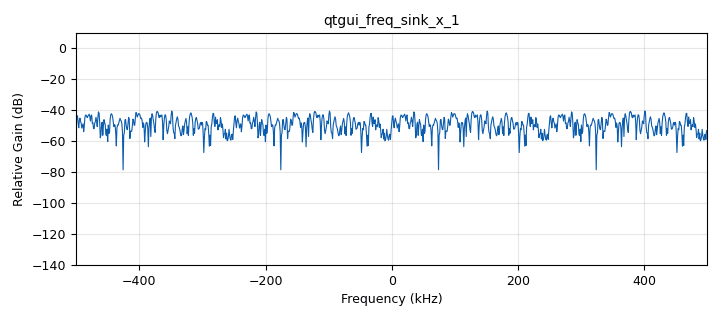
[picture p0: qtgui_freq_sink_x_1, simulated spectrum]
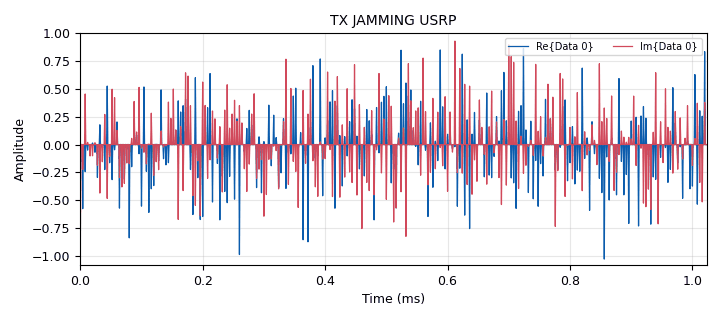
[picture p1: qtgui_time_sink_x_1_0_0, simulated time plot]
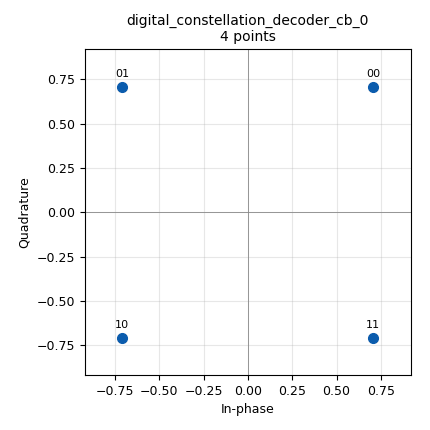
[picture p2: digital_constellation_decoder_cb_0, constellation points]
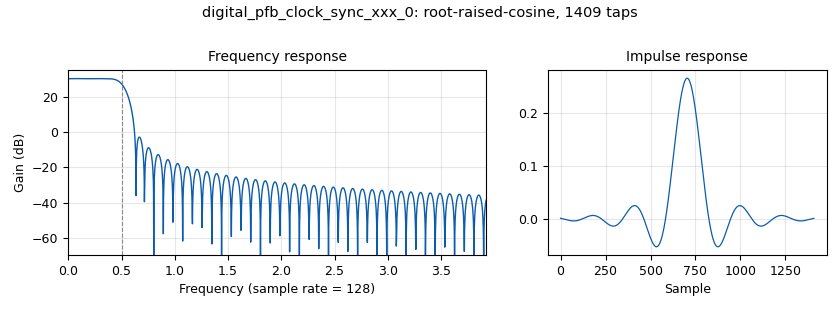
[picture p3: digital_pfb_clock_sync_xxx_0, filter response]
<?xml version='1.0' encoding='utf-8'?>
<?grc format='1' created='3.7.13'?>
<flow_graph>
<block>
<key>options</key>
<param><key>id</key><value>rx</value></param>
<param><key>author</key><value>andresilva</value></param>
<param><key>generate_options</key><value>qt_gui</value></param>
</block>
<block>
<key>variable_ldpc_H_matrix_def</key>
<param><key>id</key><value>H_dec</value></param>
<param><key>filename</key><value>/usr/local/share/gnuradio/fec/ldpc/n_1100_k_0442_gap_24.alist</value></param>
<param><key>gap</key><value>24</value></param>
</block>
<block>
<key>variable</key>
<param><key>id</key><value>MCR</value></param>
<param><key>value</key><value>"master_clock_rate=60e6"</value></param>
</block>
<block>
<key>variable</key>
<param><key>id</key><value>MCR</value></param>
<param><key>_enabled</key><value>0</value></param>
<param><key>value</key><value>"master_clock_rate=18e6"</value></param>
</block>
<block>
<key>variable</key>
<param><key>id</key><value>eb</value></param>
<param><key>value</key><value>0.22</value></param>
</block>
<block>
<key>variable</key>
<param><key>id</key><value>frequencia_usrp</value></param>
<param><key>value</key><value>484e6</value></param>
</block>
<block>
<key>variable</key>
<param><key>id</key><value>nfilts</value></param>
<param><key>value</key><value>32</value></param>
</block>
<block>
<key>variable_constellation</key>
<param><key>id</key><value>pld_const</value></param>
<param><key>const_points</key><value>0.92387+0.38268j, 0.38268+0.92387j,  -0.38268+0.92387j, -0.92387+0.38268j, -0.92387-0.38268j, -0.38268-0.92387j, 0.38268-0.92387j, 0.92387-0.38268j</value></param>
<param><key>type</key><value>calcdist</value></param>
<param><key>dims</key><value>1</value></param>
<param><key>_enabled</key><value>0</value></param>
<param><key>rot_sym</key><value>4</value></param>
<param><key>soft_dec_lut</key><value>'auto'</value></param>
<param><key>precision</key><value>8</value></param>
<param><key>sym_map</key><value>[0, 1, 2, 3, 4, 5, 6, 7]</value></param>
</block>
<block>
<key>variable_constellation_rect</key>
<param><key>id</key><value>pld_const</value></param>
<param><key>const_points</key><value>[0.707+0.707j, -0.707+0.707j, -0.707-0.707j, 0.707-0.707j]</value></param>
<param><key>imag_sect</key><value>2</value></param>
<param><key>real_sect</key><value>2</value></param>
<param><key>rot_sym</key><value>4</value></param>
<param><key>soft_dec_lut</key><value>'auto'</value></param>
<param><key>sym_map</key><value>[0, 1, 2, 3]</value></param>
<param><key>w_imag_sect</key><value>1</value></param>
<param><key>w_real_sect</key><value>1</value></param>
</block>
<block>
<key>variable_ldpc_bit_flip_decoder_def</key>
<param><key>id</key><value>pld_dec</value></param>
<param><key>dim1</key><value>8</value></param>
<param><key>matrix_object</key><value>H_dec</value></param>
<param><key>max_iterations</key><value>50</value></param>
<param><key>ndim</key><value>1</value></param>
</block>
<block>
<key>variable_rrc_filter_taps</key>
<param><key>id</key><value>rx_rrc_taps</value></param>
<param><key>alpha</key><value>eb</value></param>
<param><key>gain</key><value>nfilts</value></param>
<param><key>ntaps</key><value>11*sps*nfilts</value></param>
<param><key>samp_rate</key><value>nfilts*sps</value></param>
<param><key>sym_rate</key><value>1.0</value></param>
</block>
<block>
<key>variable</key>
<param><key>id</key><value>samp_rate</value></param>
<param><key>value</key><value>samp_rate_array_MCR[7]</value></param>
</block>
<block>
<key>variable</key>
<param><key>id</key><value>samp_rate</value></param>
<param><key>_enabled</key><value>0</value></param>
<param><key>value</key><value>samp_rate_array_MCR[0]</value></param>
</block>
<block>
<key>variable</key>
<param><key>id</key><value>samp_rate_array_MCR</value></param>
<param><key>value</key><value>[7500000,5000000,3750000,3000000,2500000,2000000,1500000,1000000,937500,882352,833333,714285,533333,500000,421052,400000,380952]</value></param>
</block>
<block>
<key>variable</key>
<param><key>id</key><value>samp_rate_array_MCR</value></param>
<param><key>_enabled</key><value>0</value></param>
<param><key>value</key><value>[4500000]</value></param>
</block>
<block>
<key>variable</key>
<param><key>id</key><value>sps</value></param>
<param><key>value</key><value>4</value></param>
</block>
<block>
<key>variable_qtgui_check_box</key>
<param><key>id</key><value>variable_qtgui_check_box_0</value></param>
<param><key>value</key><value>True</value></param>
<param><key>false</key><value>False</value></param>
<param><key>gui_hint</key><value>0,1</value></param>
<param><key>label</key><value>ENABLE JAM</value></param>
<param><key>true</key><value>True</value></param>
<param><key>type</key><value>int</value></param>
</block>
<block>
<key>variable_qtgui_range</key>
<param><key>id</key><value>variable_qtgui_range_0_0</value></param>
<param><key>value</key><value>53</value></param>
<param><key>gui_hint</key><value>0,3</value></param>
<param><key>label</key><value>Gain_Jamming</value></param>
<param><key>orient</key><value>Qt.Horizontal</value></param>
<param><key>start</key><value>0</value></param>
<param><key>step</key><value>1</value></param>
<param><key>stop</key><value>90</value></param>
</block>
<block>
<key>variable_qtgui_range</key>
<param><key>id</key><value>variable_qtgui_range_0_0_0</value></param>
<param><key>value</key><value>0</value></param>
<param><key>gui_hint</key><value>3,1</value></param>
<param><key>label</key><value>Delay</value></param>
<param><key>orient</key><value>Qt.Horizontal</value></param>
<param><key>start</key><value>0</value></param>
<param><key>step</key><value>1</value></param>
<param><key>stop</key><value>5000</value></param>
<param><key>rangeType</key><value>int</value></param>
</block>
<block>
<key>variable_qtgui_range</key>
<param><key>id</key><value>variable_qtgui_range_0_0_0_0</value></param>
<param><key>value</key><value>0</value></param>
<param><key>gui_hint</key><value>3,3</value></param>
<param><key>label</key><value>Delay2</value></param>
<param><key>orient</key><value>Qt.Horizontal</value></param>
<param><key>start</key><value>0</value></param>
<param><key>step</key><value>1</value></param>
<param><key>stop</key><value>1000</value></param>
<param><key>rangeType</key><value>int</value></param>
</block>
<block>
<key>variable_qtgui_range</key>
<param><key>id</key><value>variable_qtgui_range_0_1</value></param>
<param><key>value</key><value>28</value></param>
<param><key>gui_hint</key><value>0,2</value></param>
<param><key>label</key><value>Gain_RX</value></param>
<param><key>orient</key><value>Qt.Horizontal</value></param>
<param><key>start</key><value>0</value></param>
<param><key>step</key><value>1</value></param>
<param><key>stop</key><value>73</value></param>
</block>
<block>
<key>adapt_lms_filter_xx</key>
<param><key>id</key><value>adapt_lms_filter_xx_0</value></param>
<param><key>adapt</key><value>True</value></param>
<param><key>bypass</key><value>False</value></param>
<param><key>decimation</key><value>1</value></param>
<param><key>_enabled</key><value>0</value></param>
<param><key>filtered_input</key><value>True</value></param>
<param><key>first_input</key><value>True</value></param>
<param><key>num_taps</key><value>32</value></param>
<param><key>reset</key><value>False</value></param>
<param><key>skip</key><value>0</value></param>
<param><key>type</key><value>ff</value></param>
<param><key>mu</key><value>0.0001</value></param>
</block>
<block>
<key>adapt_lms_filter_xx</key>
<param><key>id</key><value>adapt_lms_filter_xx_0_0</value></param>
<param><key>adapt</key><value>True</value></param>
<param><key>bypass</key><value>False</value></param>
<param><key>decimation</key><value>1</value></param>
<param><key>_enabled</key><value>0</value></param>
<param><key>filtered_input</key><value>True</value></param>
<param><key>first_input</key><value>True</value></param>
<param><key>num_taps</key><value>32</value></param>
<param><key>reset</key><value>False</value></param>
<param><key>skip</key><value>0</value></param>
<param><key>type</key><value>cc</value></param>
<param><key>mu</key><value>0.1</value></param>
</block>
<block>
<key>analog_noise_source_x</key>
<param><key>id</key><value>analog_noise_source_x_0_0</value></param>
<param><key>amp</key><value>1</value></param>
<param><key>noise_type</key><value>analog.GR_GAUSSIAN</value></param>
<param><key>type</key><value>complex</value></param>
<param><key>seed</key><value>-5</value></param>
</block>
<block>
<key>blocks_char_to_float</key>
<param><key>id</key><value>blocks_char_to_float_0</value></param>
<param><key>scale</key><value>1</value></param>
</block>
<block>
<key>blocks_char_to_float</key>
<param><key>id</key><value>blocks_char_to_float_0_0</value></param>
<param><key>_enabled</key><value>0</value></param>
<param><key>scale</key><value>1</value></param>
</block>
<block>
<key>blocks_char_to_float</key>
<param><key>id</key><value>blocks_char_to_float_0_2_0_0_0</value></param>
<param><key>_enabled</key><value>0</value></param>
<param><key>scale</key><value>1</value></param>
</block>
<block>
<key>blocks_char_to_float</key>
<param><key>id</key><value>blocks_char_to_float_1_0_1</value></param>
<param><key>_enabled</key><value>0</value></param>
<param><key>scale</key><value>1</value></param>
</block>
<block>
<key>blocks_complex_to_float</key>
<param><key>id</key><value>blocks_complex_to_float_0</value></param>
<param><key>_enabled</key><value>0</value></param>
</block>
<block>
<key>blocks_complex_to_float</key>
<param><key>id</key><value>blocks_complex_to_float_0_0</value></param>
<param><key>_enabled</key><value>0</value></param>
</block>
<block>
<key>blocks_complex_to_mag_squared</key>
<param><key>id</key><value>blocks_complex_to_mag_squared_0_1_0</value></param>
<param><key>_enabled</key><value>0</value></param>
</block>
<block>
<key>blocks_copy</key>
<param><key>id</key><value>blocks_copy_0</value></param>
<param><key>enabled</key><value>variable_qtgui_check_box_0</value></param>
<param><key>showports</key><value>True</value></param>
<param><key>type</key><value>complex</value></param>
</block>
<block>
<key>blocks_delay</key>
<param><key>id</key><value>blocks_delay_0</value></param>
<param><key>delay</key><value>variable_qtgui_range_0_0_0</value></param>
<param><key>_enabled</key><value>2</value></param>
<param><key>type</key><value>complex</value></param>
</block>
<block>
<key>blocks_delay</key>
<param><key>id</key><value>blocks_delay_0_0</value></param>
<param><key>delay</key><value>variable_qtgui_range_0_0_0_0</value></param>
<param><key>_enabled</key><value>2</value></param>
<param><key>type</key><value>complex</value></param>
</block>
<block>
<key>blocks_delay</key>
<param><key>id</key><value>blocks_delay_0_0_0</value></param>
<param><key>delay</key><value>variable_qtgui_range_0_0_0_0</value></param>
<param><key>_enabled</key><value>0</value></param>
<param><key>type</key><value>complex</value></param>
</block>
<block>
<key>blocks_delay</key>
<param><key>id</key><value>blocks_delay_0_1</value></param>
<param><key>delay</key><value>variable_qtgui_range_0_0_0</value></param>
<param><key>_enabled</key><value>0</value></param>
<param><key>type</key><value>complex</value></param>
</block>
<block>
<key>blocks_file_sink</key>
<param><key>id</key><value>blocks_file_sink_0_0_0_0</value></param>
<param><key>_enabled</key><value>0</value></param>
<param><key>file</key><value>/home/it/Desktop/Trasmited/depois.mpeg</value></param>
<param><key>type</key><value>byte</value></param>
</block>
<block>
<key>blocks_file_sink</key>
<param><key>id</key><value>blocks_file_sink_0_0_0_0_1</value></param>
<param><key>_enabled</key><value>0</value></param>
<param><key>file</key><value>/home/it/Desktop/Trasmited/depois.jpg</value></param>
<param><key>type</key><value>byte</value></param>
</block>
<block>
<key>blocks_file_sink</key>
<param><key>id</key><value>blocks_file_sink_0_0_0_0_2</value></param>
<param><key>_enabled</key><value>0</value></param>
<param><key>file</key><value>/home/andre/Desktop/Trasmited/depois.txt</value></param>
<param><key>type</key><value>byte</value></param>
</block>
<block>
<key>blocks_file_sink</key>
<param><key>id</key><value>blocks_file_sink_0_0_0_0_2_0</value></param>
<param><key>file</key><value>/home/andre/Desktop/Trasmited/buffer.txt</value></param>
<param><key>type</key><value>byte</value></param>
</block>
<block>
<key>blocks_float_to_complex</key>
<param><key>id</key><value>blocks_float_to_complex_0</value></param>
<param><key>_enabled</key><value>0</value></param>
</block>
<block>
<key>blocks_keep_m_in_n</key>
<param><key>id</key><value>blocks_keep_m_in_n_0_0_2_0_0</value></param>
<param><key>comment</key><value>Use when Constellation Soft Decoder</value></param>
<param><key>_enabled</key><value>0</value></param>
<param><key>m</key><value>1100</value></param>
<param><key>n</key><value>1104</value></param>
<param><key>type</key><value>byte</value></param>
<param><key>offset</key><value>0</value></param>
</block>
<block>
<key>blocks_keep_m_in_n</key>
<param><key>id</key><value>blocks_keep_m_in_n_0_1_1_0</value></param>
<param><key>_enabled</key><value>0</value></param>
<param><key>m</key><value>440</value></param>
<param><key>n</key><value>442</value></param>
<param><key>type</key><value>byte</value></param>
<param><key>offset</key><value>0</value></param>
</block>
<block>
<key>blocks_keep_one_in_n</key>
<param><key>id</key><value>blocks_keep_one_in_n_0</value></param>
<param><key>_enabled</key><value>0</value></param>
<param><key>n</key><value>2</value></param>
<param><key>type</key><value>float</value></param>
</block>
<block>
<key>blocks_keep_one_in_n</key>
<param><key>id</key><value>blocks_keep_one_in_n_0_0</value></param>
<param><key>_enabled</key><value>0</value></param>
<param><key>n</key><value>2</value></param>
<param><key>type</key><value>float</value></param>
</block>
<block>
<key>blocks_multiply_const_vxx</key>
<param><key>id</key><value>blocks_multiply_const_vxx_1_0</value></param>
<param><key>const</key><value>0.5</value></param>
<param><key>type</key><value>complex</value></param>
</block>
<block>
<key>blocks_null_sink</key>
<param><key>id</key><value>blocks_null_sink_0</value></param>
<param><key>bus_conns</key><value>[[0,],]</value></param>
<param><key>_enabled</key><value>0</value></param>
<param><key>type</key><value>float</value></param>
</block>
<block>
<key>blocks_null_sink</key>
<param><key>id</key><value>blocks_null_sink_0_0</value></param>
<param><key>bus_conns</key><value>[[0,],]</value></param>
<param><key>_enabled</key><value>0</value></param>
<param><key>type</key><value>float</value></param>
</block>
<block>
<key>blocks_null_sink</key>
<param><key>id</key><value>blocks_null_sink_0_1</value></param>
<param><key>bus_conns</key><value>[[0,],]</value></param>
<param><key>_enabled</key><value>0</value></param>
<param><key>type</key><value>complex</value></param>
</block>
<block>
<key>blocks_null_sink</key>
<param><key>id</key><value>blocks_null_sink_1</value></param>
<param><key>bus_conns</key><value>[[0,],]</value></param>
<param><key>type</key><value>complex</value></param>
</block>
<block>
<key>blocks_repack_bits_bb</key>
<param><key>id</key><value>blocks_repack_bits_bb_0</value></param>
<param><key>k</key><value>pld_const.bits_per_symbol()</value></param>
<param><key>l</key><value>1</value></param>
<param><key>endianness</key><value>gr.GR_MSB_FIRST</value></param>
<param><key>len_tag_key</key><value></value></param>
</block>
<block>
<key>blocks_repack_bits_bb</key>
<param><key>id</key><value>blocks_repack_bits_bb_0_0</value></param>
<param><key>k</key><value>1</value></param>
<param><key>l</key><value>8</value></param>
<param><key>endianness</key><value>gr.GR_MSB_FIRST</value></param>
<param><key>len_tag_key</key><value></value></param>
</block>
<block>
<key>blocks_repack_bits_bb</key>
<param><key>id</key><value>blocks_repack_bits_bb_0_0_0_1_0</value></param>
<param><key>k</key><value>1</value></param>
<param><key>l</key><value>8</value></param>
<param><key>_enabled</key><value>0</value></param>
<param><key>endianness</key><value>gr.GR_MSB_FIRST</value></param>
<param><key>len_tag_key</key><value></value></param>
</block>
<block>
<key>blocks_skiphead</key>
<param><key>id</key><value>blocks_skiphead_0</value></param>
<param><key>_enabled</key><value>0</value></param>
<param><key>num_items</key><value>1</value></param>
<param><key>type</key><value>float</value></param>
</block>
<block>
<key>blocks_skiphead</key>
<param><key>id</key><value>blocks_skiphead_0_0</value></param>
<param><key>_enabled</key><value>0</value></param>
<param><key>num_items</key><value>1</value></param>
<param><key>type</key><value>byte</value></param>
</block>
<block>
<key>blocks_skiphead</key>
<param><key>id</key><value>blocks_skiphead_0_0_0</value></param>
<param><key>_enabled</key><value>0</value></param>
<param><key>num_items</key><value>2</value></param>
<param><key>type</key><value>float</value></param>
</block>
<block>
<key>blocks_stream_mux</key>
<param><key>id</key><value>blocks_stream_mux_1</value></param>
<param><key>_enabled</key><value>0</value></param>
<param><key>lengths</key><value>1, 1</value></param>
<param><key>type</key><value>float</value></param>
</block>
<block>
<key>blocks_stream_mux</key>
<param><key>id</key><value>blocks_stream_mux_1_0</value></param>
<param><key>_enabled</key><value>0</value></param>
<param><key>lengths</key><value>1, 1</value></param>
<param><key>type</key><value>float</value></param>
</block>
<block>
<key>blocks_stream_to_streams</key>
<param><key>id</key><value>blocks_stream_to_streams_0</value></param>
<param><key>_enabled</key><value>0</value></param>
<param><key>type</key><value>float</value></param>
</block>
<block>
<key>correlate_and_delay_corr_and_delay</key>
<param><key>id</key><value>custom_corr</value></param>
<param><key>interval</key><value>0</value></param>
<param><key>number_bits</key><value>200*sps</value></param>
<param><key>sps</key><value>sps</value></param>
<param><key>threshold</key><value>0.999</value></param>
</block>
<block>
<key>digital_cma_equalizer_cc</key>
<param><key>id</key><value>digital_cma_equalizer_cc_0</value></param>
<param><key>_enabled</key><value>0</value></param>
<param><key>mu</key><value>0.01</value></param>
<param><key>modulus</key><value>1</value></param>
<param><key>num_taps</key><value>45</value></param>
<param><key>sps</key><value>2</value></param>
</block>
<block>
<key>digital_cma_equalizer_cc</key>
<param><key>id</key><value>digital_cma_equalizer_cc_0_0</value></param>
<param><key>_enabled</key><value>2</value></param>
<param><key>mu</key><value>0.01</value></param>
<param><key>modulus</key><value>1</value></param>
<param><key>num_taps</key><value>15</value></param>
<param><key>sps</key><value>2</value></param>
</block>
<block>
<key>digital_constellation_decoder_cb</key>
<param><key>id</key><value>digital_constellation_decoder_cb_0</value></param>
<param><key>constellation</key><value>pld_const</value></param>
</block>
<block>
<key>digital_correlate_access_code_xx_ts</key>
<param><key>id</key><value>digital_correlate_access_code_xx_ts_0_0</value></param>
<param><key>access_code</key><value>digital.packet_utils.default_access_code</value></param>
<param><key>type</key><value>byte</value></param>
<param><key>tagname</key><value>packet_len</value></param>
<param><key>threshold</key><value>4</value></param>
</block>
<block>
<key>digital_costas_loop_cc</key>
<param><key>id</key><value>digital_costas_loop_cc_0_0</value></param>
<param><key>w</key><value>6.28/100.0</value></param>
<param><key>order</key><value>pld_const.arity()</value></param>
</block>
<block>
<key>digital_diff_decoder_bb</key>
<param><key>id</key><value>digital_diff_decoder_bb_0</value></param>
<param><key>modulus</key><value>pld_const.arity()</value></param>
</block>
<block>
<key>digital_lms_dd_equalizer_cc</key>
<param><key>id</key><value>digital_lms_dd_equalizer_cc_0</value></param>
<param><key>cnst</key><value>pld_const</value></param>
<param><key>_enabled</key><value>0</value></param>
<param><key>mu</key><value>0.01</value></param>
<param><key>num_taps</key><value>45</value></param>
<param><key>sps</key><value>2</value></param>
</block>
<block>
<key>digital_map_bb</key>
<param><key>id</key><value>digital_map_bb_0_0_0_0_0_0</value></param>
<param><key>_enabled</key><value>0</value></param>
<param><key>map</key><value>[-1, 1]</value></param>
</block>
<block>
<key>digital_pfb_clock_sync_xxx</key>
<param><key>id</key><value>digital_pfb_clock_sync_xxx_0</value></param>
<param><key>filter_size</key><value>nfilts</value></param>
<param><key>init_phase</key><value>nfilts/2</value></param>
<param><key>loop_bw</key><value>6.28/100.0</value></param>
<param><key>max_dev</key><value>1.5</value></param>
<param><key>osps</key><value>1</value></param>
<param><key>sps</key><value>sps</value></param>
<param><key>taps</key><value>rx_rrc_taps</value></param>
<param><key>type</key><value>ccf</value></param>
</block>
<block>
<key>fec_extended_decoder</key>
<param><key>id</key><value>fec_extended_decoder_0_0_1_0_1_0_0</value></param>
<param><key>decoder_list</key><value>pld_dec</value></param>
<param><key>_enabled</key><value>0</value></param>
<param><key>puncpat</key><value>puncpat</value></param>
<param><key>threadtype</key><value>capillary</value></param>
</block>
<block>
<key>interp_fir_filter_xxx</key>
<param><key>id</key><value>interp_fir_filter_xxx_1</value></param>
<param><key>interp</key><value>4</value></param>
<param><key>taps</key><value>[1,0,0,0]</value></param>
<param><key>type</key><value>ccc</value></param>
</block>
<block>
<key>parameter</key>
<param><key>id</key><value>puncpat</value></param>
<param><key>type</key><value>string</value></param>
<param><key>value</key><value>'11'</value></param>
</block>
<block>
<key>qtgui_const_sink_x</key>
<param><key>id</key><value>qtgui_const_sink_x_0_0_0</value></param>
<param><key>gui_hint</key><value>2,2</value></param>
<param><key>name</key><value>"RX Treated"</value></param>
<param><key>size</key><value>1024</value></param>
<param><key>type</key><value>complex</value></param>
</block>
<block>
<key>qtgui_const_sink_x</key>
<param><key>id</key><value>qtgui_const_sink_x_0_0_0_1</value></param>
<param><key>gui_hint</key><value>2,1</value></param>
<param><key>name</key><value>"RX Const"</value></param>
<param><key>size</key><value>1024</value></param>
<param><key>type</key><value>complex</value></param>
</block>
<block>
<key>qtgui_freq_sink_x</key>
<param><key>id</key><value>qtgui_freq_sink_x_0</value></param>
<param><key>bw</key><value>samp_rate</value></param>
<param><key>fc</key><value>0</value></param>
<param><key>_enabled</key><value>0</value></param>
<param><key>fftsize</key><value>1024</value></param>
<param><key>gui_hint</key><value>3,2</value></param>
<param><key>showports</key><value>True</value></param>
<param><key>type</key><value>complex</value></param>
<param><key>wintype</key><value>firdes.WIN_BLACKMAN_hARRIS</value></param>
</block>
<block>
<key>qtgui_freq_sink_x</key>
<param><key>id</key><value>qtgui_freq_sink_x_0_0</value></param>
<param><key>bw</key><value>samp_rate</value></param>
<param><key>fc</key><value>0</value></param>
<param><key>_enabled</key><value>0</value></param>
<param><key>fftsize</key><value>1024</value></param>
<param><key>gui_hint</key><value>10,2</value></param>
<param><key>showports</key><value>True</value></param>
<param><key>type</key><value>complex</value></param>
<param><key>wintype</key><value>firdes.WIN_BLACKMAN_hARRIS</value></param>
</block>
<block>
<key>qtgui_freq_sink_x</key>
<param><key>id</key><value>qtgui_freq_sink_x_1</value></param>
<param><key>bw</key><value>samp_rate</value></param>
<param><key>fc</key><value>0</value></param>
<param><key>fftsize</key><value>1024</value></param>
<param><key>gui_hint</key><value>1,2</value></param>
<param><key>showports</key><value>True</value></param>
<param><key>type</key><value>complex</value></param>
<param><key>wintype</key><value>firdes.WIN_BLACKMAN_hARRIS</value></param>
</block>
<block>
<key>qtgui_time_sink_x</key>
<param><key>id</key><value>qtgui_time_sink_x_0_1</value></param>
<param><key>autoscale</key><value>True</value></param>
<param><key>_enabled</key><value>0</value></param>
<param><key>gui_hint</key><value>2,3</value></param>
<param><key>grid</key><value>True</value></param>
<param><key>color1</key><value>"blue"</value></param>
<param><key>label1</key><value></value></param>
<param><key>name</key><value>Rx Data</value></param>
<param><key>size</key><value>100*2</value></param>
<param><key>srate</key><value>samp_rate</value></param>
<param><key>tr_tag</key><value>packet_length_tag_key</value></param>
<param><key>type</key><value>float</value></param>
<param><key>ymax</key><value>256</value></param>
</block>
<block>
<key>qtgui_time_sink_x</key>
<param><key>id</key><value>qtgui_time_sink_x_1_0</value></param>
<param><key>gui_hint</key><value>1,3</value></param>
<param><key>color1</key><value>"blue"</value></param>
<param><key>label1</key><value></value></param>
<param><key>color2</key><value>"red"</value></param>
<param><key>label2</key><value></value></param>
<param><key>name</key><value>"RX USRP"</value></param>
<param><key>size</key><value>1024</value></param>
<param><key>srate</key><value>samp_rate</value></param>
<param><key>type</key><value>complex</value></param>
</block>
<block>
<key>qtgui_time_sink_x</key>
<param><key>id</key><value>qtgui_time_sink_x_1_0_0</value></param>
<param><key>gui_hint</key><value>1,1</value></param>
<param><key>color1</key><value>"blue"</value></param>
<param><key>label1</key><value></value></param>
<param><key>color2</key><value>"red"</value></param>
<param><key>label2</key><value></value></param>
<param><key>name</key><value>"TX JAMMING USRP"</value></param>
<param><key>size</key><value>1024</value></param>
<param><key>srate</key><value>samp_rate</value></param>
<param><key>type</key><value>complex</value></param>
</block>
<block>
<key>qtgui_time_sink_x</key>
<param><key>id</key><value>qtgui_time_sink_x_1_0_0_0</value></param>
<param><key>_enabled</key><value>0</value></param>
<param><key>gui_hint</key><value>3,1</value></param>
<param><key>color1</key><value>"blue"</value></param>
<param><key>label1</key><value></value></param>
<param><key>color2</key><value>"red"</value></param>
<param><key>label2</key><value></value></param>
<param><key>name</key><value>"SAI DO NOISE SOURCE"</value></param>
<param><key>size</key><value>1024</value></param>
<param><key>srate</key><value>samp_rate</value></param>
<param><key>type</key><value>complex</value></param>
</block>
<block>
<key>qtgui_time_sink_x</key>
<param><key>id</key><value>qtgui_time_sink_x_1_1</value></param>
<param><key>_enabled</key><value>0</value></param>
<param><key>gui_hint</key><value>2,1</value></param>
<param><key>color1</key><value>"blue"</value></param>
<param><key>label1</key><value></value></param>
<param><key>color2</key><value>"red"</value></param>
<param><key>label2</key><value></value></param>
<param><key>name</key><value>"RX USRP"</value></param>
<param><key>size</key><value>1024</value></param>
<param><key>srate</key><value>samp_rate</value></param>
<param><key>type</key><value>complex</value></param>
</block>
<block>
<key>qtgui_time_sink_x</key>
<param><key>id</key><value>qtgui_time_sink_x_2</value></param>
<param><key>gui_hint</key><value>2,3</value></param>
<param><key>color1</key><value>"blue"</value></param>
<param><key>label1</key><value></value></param>
<param><key>name</key><value>"Write Buffer"</value></param>
<param><key>size</key><value>1024</value></param>
<param><key>srate</key><value>samp_rate</value></param>
<param><key>type</key><value>float</value></param>
<param><key>ymax</key><value>1.5</value></param>
<param><key>ymin</key><value>0</value></param>
</block>
<block>
<key>qtgui_time_sink_x</key>
<param><key>id</key><value>qtgui_time_sink_x_2_0</value></param>
<param><key>_enabled</key><value>0</value></param>
<param><key>gui_hint</key><value>2,2</value></param>
<param><key>grid</key><value>True</value></param>
<param><key>color1</key><value>"blue"</value></param>
<param><key>label1</key><value></value></param>
<param><key>name</key><value>"After CAC"</value></param>
<param><key>size</key><value>1024</value></param>
<param><key>srate</key><value>samp_rate</value></param>
<param><key>type</key><value>float</value></param>
<param><key>ymax</key><value>1.5</value></param>
<param><key>ymin</key><value>0</value></param>
</block>
<block>
<key>qtgui_time_sink_x</key>
<param><key>id</key><value>qtgui_time_sink_x_2_0_0_1</value></param>
<param><key>_enabled</key><value>0</value></param>
<param><key>gui_hint</key><value>6,0</value></param>
<param><key>color1</key><value>"blue"</value></param>
<param><key>label1</key><value></value></param>
<param><key>color2</key><value>"red"</value></param>
<param><key>label2</key><value></value></param>
<param><key>name</key><value>"Without MAG"</value></param>
<param><key>size</key><value>1024</value></param>
<param><key>srate</key><value>samp_rate</value></param>
<param><key>type</key><value>complex</value></param>
<param><key>ymax</key><value>15</value></param>
</block>
<block>
<key>qtgui_time_sink_x</key>
<param><key>id</key><value>qtgui_time_sink_x_2_0_1</value></param>
<param><key>_enabled</key><value>0</value></param>
<param><key>gui_hint</key><value>7,1</value></param>
<param><key>color1</key><value>"blue"</value></param>
<param><key>label1</key><value></value></param>
<param><key>name</key><value>"MAG"</value></param>
<param><key>size</key><value>1024</value></param>
<param><key>srate</key><value>samp_rate</value></param>
<param><key>type</key><value>float</value></param>
<param><key>ymax</key><value>200</value></param>
</block>
<block>
<key>scrambler_cpp_custom_descrambler</key>
<param><key>id</key><value>scrambler_cpp_custom_descrambler_0</value></param>
<param><key>_enabled</key><value>0</value></param>
<param><key>frame_bits</key><value>440-32</value></param>
<param><key>len</key><value>7</value></param>
<param><key>mask</key><value>0x8A</value></param>
<param><key>seed</key><value>0x7F</value></param>
</block>
<block>
<key>scrambler_packets_same_seed_descramble_packetize</key>
<param><key>id</key><value>scrambler_packets_same_seed_descramble_packetize_0</value></param>
<param><key>_enabled</key><value>0</value></param>
<param><key>frame_bit</key><value>440</value></param>
<param><key>len</key><value>7</value></param>
<param><key>mask</key><value>0x8A</value></param>
<param><key>seed</key><value>0x7F</value></param>
</block>
<block>
<key>uhd_usrp_sink</key>
<param><key>id</key><value>uhd_usrp_sink_0</value></param>
<param><key>ant0</key><value>TX/RX</value></param>
<param><key>center_freq0</key><value>frequencia_usrp</value></param>
<param><key>norm_gain0</key><value>False</value></param>
<param><key>gain0</key><value>variable_qtgui_range_0_0</value></param>
<param><key>clock_rate</key><value>0.0</value></param>
<param><key>dev_addr</key><value>"serial=F5EAC0"</value></param>
<param><key>dev_args</key><value>MCR</value></param>
<param><key>type</key><value>fc32</value></param>
<param><key>sd_spec0</key><value>A:B</value></param>
<param><key>samp_rate</key><value>samp_rate</value></param>
<param><key>hide_cmd_port</key><value>False</value></param>
<param><key>hide_lo_controls</key><value>True</value></param>
<param><key>sync</key><value>sync</value></param>
<param><key>len_tag_name</key><value></value></param>
</block>
<block>
<key>uhd_usrp_source</key>
<param><key>id</key><value>uhd_usrp_source_0_0</value></param>
<param><key>ant0</key><value>TX/RX</value></param>
<param><key>center_freq0</key><value>frequencia_usrp</value></param>
<param><key>dc_offs_enb0</key><value>True</value></param>
<param><key>iq_imbal_enb0</key><value>True</value></param>
<param><key>norm_gain0</key><value>False</value></param>
<param><key>gain0</key><value>variable_qtgui_range_0_1</value></param>
<param><key>clock_rate</key><value>0.0</value></param>
<param><key>dev_addr</key><value>"serial=F5EAC0"</value></param>
<param><key>dev_args</key><value>MCR</value></param>
<param><key>type</key><value>fc32</value></param>
<param><key>samp_rate</key><value>samp_rate</value></param>
<param><key>hide_cmd_port</key><value>False</value></param>
<param><key>hide_lo_controls</key><value>True</value></param>
<param><key>sync</key><value>sync</value></param>
</block>
<block>
<key>virtual_sink</key>
<param><key>id</key><value>virtual_sink_0_0</value></param>
<param><key>_enabled</key><value>0</value></param>
<param><key>stream_id</key><value>Packet</value></param>
</block>
<block>
<key>virtual_sink</key>
<param><key>id</key><value>virtual_sink_0_1</value></param>
<param><key>stream_id</key><value>Recived_treated</value></param>
</block>
<block>
<key>virtual_source</key>
<param><key>id</key><value>virtual_source_0</value></param>
<param><key>stream_id</key><value>Recived_treated</value></param>
</block>
<block>
<key>virtual_source</key>
<param><key>id</key><value>virtual_source_0_0_0_0</value></param>
<param><key>_enabled</key><value>0</value></param>
<param><key>stream_id</key><value>Packet</value></param>
</block>
<connection><source_block_id>adapt_lms_filter_xx_0</source_block_id><sink_block_id>blocks_skiphead_0</sink_block_id><source_key>1</source_key><sink_key>0</sink_key></connection>
<connection><source_block_id>adapt_lms_filter_xx_0</source_block_id><sink_block_id>blocks_skiphead_0_0_0</sink_block_id><source_key>1</source_key><sink_key>0</sink_key></connection>
<connection><source_block_id>adapt_lms_filter_xx_0</source_block_id><sink_block_id>blocks_stream_to_streams_0</sink_block_id><source_key>1</source_key><sink_key>0</sink_key></connection>
<connection><source_block_id>adapt_lms_filter_xx_0</source_block_id><sink_block_id>blocks_null_sink_0</sink_block_id><source_key>0</source_key><sink_key>0</sink_key></connection>
<connection><source_block_id>adapt_lms_filter_xx_0_0</source_block_id><sink_block_id>digital_pfb_clock_sync_xxx_0</sink_block_id><source_key>1</source_key><sink_key>0</sink_key></connection>
<connection><source_block_id>adapt_lms_filter_xx_0_0</source_block_id><sink_block_id>blocks_null_sink_0_1</sink_block_id><source_key>0</source_key><sink_key>0</sink_key></connection>
<connection><source_block_id>analog_noise_source_x_0_0</source_block_id><sink_block_id>interp_fir_filter_xxx_1</sink_block_id><source_key>0</source_key><sink_key>0</sink_key></connection>
<connection><source_block_id>analog_noise_source_x_0_0</source_block_id><sink_block_id>qtgui_freq_sink_x_0</sink_block_id><source_key>0</source_key><sink_key>0</sink_key></connection>
<connection><source_block_id>blocks_char_to_float_0</source_block_id><sink_block_id>qtgui_time_sink_x_2</sink_block_id><source_key>0</source_key><sink_key>0</sink_key></connection>
<connection><source_block_id>blocks_char_to_float_0_0</source_block_id><sink_block_id>qtgui_time_sink_x_2_0</sink_block_id><source_key>0</source_key><sink_key>0</sink_key></connection>
<connection><source_block_id>blocks_char_to_float_0_2_0_0_0</source_block_id><sink_block_id>fec_extended_decoder_0_0_1_0_1_0_0</sink_block_id><source_key>0</source_key><sink_key>0</sink_key></connection>
<connection><source_block_id>blocks_char_to_float_1_0_1</source_block_id><sink_block_id>qtgui_time_sink_x_0_1</sink_block_id><source_key>0</source_key><sink_key>0</sink_key></connection>
<connection><source_block_id>blocks_complex_to_float_0</source_block_id><sink_block_id>blocks_stream_mux_1</sink_block_id><source_key>1</source_key><sink_key>1</sink_key></connection>
<connection><source_block_id>blocks_complex_to_float_0</source_block_id><sink_block_id>blocks_stream_mux_1</sink_block_id><source_key>0</source_key><sink_key>0</sink_key></connection>
<connection><source_block_id>blocks_complex_to_float_0_0</source_block_id><sink_block_id>blocks_stream_mux_1_0</sink_block_id><source_key>1</source_key><sink_key>1</sink_key></connection>
<connection><source_block_id>blocks_complex_to_float_0_0</source_block_id><sink_block_id>blocks_stream_mux_1_0</sink_block_id><source_key>0</source_key><sink_key>0</sink_key></connection>
<connection><source_block_id>blocks_complex_to_mag_squared_0_1_0</source_block_id><sink_block_id>qtgui_time_sink_x_2_0_1</sink_block_id><source_key>0</source_key><sink_key>0</sink_key></connection>
<connection><source_block_id>blocks_copy_0</source_block_id><sink_block_id>uhd_usrp_sink_0</sink_block_id><source_key>0</source_key><sink_key>0</sink_key></connection>
<connection><source_block_id>blocks_delay_0</source_block_id><sink_block_id>blocks_complex_to_float_0</sink_block_id><source_key>0</source_key><sink_key>0</sink_key></connection>
<connection><source_block_id>blocks_delay_0_0</source_block_id><sink_block_id>blocks_complex_to_float_0_0</sink_block_id><source_key>0</source_key><sink_key>0</sink_key></connection>
<connection><source_block_id>blocks_delay_0_0_0</source_block_id><sink_block_id>adapt_lms_filter_xx_0_0</sink_block_id><source_key>0</source_key><sink_key>1</sink_key></connection>
<connection><source_block_id>blocks_delay_0_1</source_block_id><sink_block_id>adapt_lms_filter_xx_0_0</sink_block_id><source_key>0</source_key><sink_key>0</sink_key></connection>
<connection><source_block_id>blocks_float_to_complex_0</source_block_id><sink_block_id>digital_pfb_clock_sync_xxx_0</sink_block_id><source_key>0</source_key><sink_key>0</sink_key></connection>
<connection><source_block_id>blocks_keep_m_in_n_0_0_2_0_0</source_block_id><sink_block_id>digital_map_bb_0_0_0_0_0_0</sink_block_id><source_key>0</source_key><sink_key>0</sink_key></connection>
<connection><source_block_id>blocks_keep_m_in_n_0_1_1_0</source_block_id><sink_block_id>scrambler_cpp_custom_descrambler_0</sink_block_id><source_key>0</source_key><sink_key>0</sink_key></connection>
<connection><source_block_id>blocks_keep_m_in_n_0_1_1_0</source_block_id><sink_block_id>scrambler_packets_same_seed_descramble_packetize_0</sink_block_id><source_key>0</source_key><sink_key>0</sink_key></connection>
<connection><source_block_id>blocks_keep_one_in_n_0</source_block_id><sink_block_id>blocks_float_to_complex_0</sink_block_id><source_key>0</source_key><sink_key>1</sink_key></connection>
<connection><source_block_id>blocks_keep_one_in_n_0_0</source_block_id><sink_block_id>blocks_float_to_complex_0</sink_block_id><source_key>0</source_key><sink_key>0</sink_key></connection>
<connection><source_block_id>blocks_multiply_const_vxx_1_0</source_block_id><sink_block_id>blocks_copy_0</sink_block_id><source_key>0</source_key><sink_key>0</sink_key></connection>
<connection><source_block_id>blocks_multiply_const_vxx_1_0</source_block_id><sink_block_id>custom_corr</sink_block_id><source_key>0</source_key><sink_key>0</sink_key></connection>
<connection><source_block_id>blocks_multiply_const_vxx_1_0</source_block_id><sink_block_id>qtgui_freq_sink_x_0_0</sink_block_id><source_key>0</source_key><sink_key>0</sink_key></connection>
<connection><source_block_id>blocks_multiply_const_vxx_1_0</source_block_id><sink_block_id>qtgui_freq_sink_x_1</sink_block_id><source_key>0</source_key><sink_key>0</sink_key></connection>
<connection><source_block_id>blocks_multiply_const_vxx_1_0</source_block_id><sink_block_id>qtgui_time_sink_x_1_0_0</sink_block_id><source_key>0</source_key><sink_key>0</sink_key></connection>
<connection><source_block_id>blocks_multiply_const_vxx_1_0</source_block_id><sink_block_id>qtgui_time_sink_x_1_0_0_0</sink_block_id><source_key>0</source_key><sink_key>0</sink_key></connection>
<connection><source_block_id>blocks_repack_bits_bb_0</source_block_id><sink_block_id>digital_correlate_access_code_xx_ts_0_0</sink_block_id><source_key>0</source_key><sink_key>0</sink_key></connection>
<connection><source_block_id>blocks_repack_bits_bb_0_0</source_block_id><sink_block_id>blocks_char_to_float_0</sink_block_id><source_key>0</source_key><sink_key>0</sink_key></connection>
<connection><source_block_id>blocks_repack_bits_bb_0_0</source_block_id><sink_block_id>blocks_file_sink_0_0_0_0_2_0</sink_block_id><source_key>0</source_key><sink_key>0</sink_key></connection>
<connection><source_block_id>blocks_repack_bits_bb_0_0_0_1_0</source_block_id><sink_block_id>blocks_char_to_float_1_0_1</sink_block_id><source_key>0</source_key><sink_key>0</sink_key></connection>
<connection><source_block_id>blocks_repack_bits_bb_0_0_0_1_0</source_block_id><sink_block_id>blocks_file_sink_0_0_0_0</sink_block_id><source_key>0</source_key><sink_key>0</sink_key></connection>
<connection><source_block_id>blocks_repack_bits_bb_0_0_0_1_0</source_block_id><sink_block_id>blocks_file_sink_0_0_0_0_1</sink_block_id><source_key>0</source_key><sink_key>0</sink_key></connection>
<connection><source_block_id>blocks_repack_bits_bb_0_0_0_1_0</source_block_id><sink_block_id>blocks_file_sink_0_0_0_0_2</sink_block_id><source_key>0</source_key><sink_key>0</sink_key></connection>
<connection><source_block_id>blocks_repack_bits_bb_0_0_0_1_0</source_block_id><sink_block_id>blocks_skiphead_0_0</sink_block_id><source_key>0</source_key><sink_key>0</sink_key></connection>
<connection><source_block_id>blocks_skiphead_0</source_block_id><sink_block_id>blocks_keep_one_in_n_0</sink_block_id><source_key>0</source_key><sink_key>0</sink_key></connection>
<connection><source_block_id>blocks_skiphead_0_0_0</source_block_id><sink_block_id>blocks_keep_one_in_n_0_0</sink_block_id><source_key>0</source_key><sink_key>0</sink_key></connection>
<connection><source_block_id>blocks_stream_mux_1</source_block_id><sink_block_id>adapt_lms_filter_xx_0</sink_block_id><source_key>0</source_key><sink_key>1</sink_key></connection>
<connection><source_block_id>blocks_stream_mux_1_0</source_block_id><sink_block_id>adapt_lms_filter_xx_0</sink_block_id><source_key>0</source_key><sink_key>0</sink_key></connection>
<connection><source_block_id>blocks_stream_to_streams_0</source_block_id><sink_block_id>blocks_float_to_complex_0</sink_block_id><source_key>0</source_key><sink_key>1</sink_key></connection>
<connection><source_block_id>blocks_stream_to_streams_0</source_block_id><sink_block_id>blocks_float_to_complex_0</sink_block_id><source_key>1</source_key><sink_key>0</sink_key></connection>
<connection><source_block_id>custom_corr</source_block_id><sink_block_id>blocks_complex_to_mag_squared_0_1_0</sink_block_id><source_key>2</source_key><sink_key>0</sink_key></connection>
<connection><source_block_id>custom_corr</source_block_id><sink_block_id>blocks_null_sink_1</sink_block_id><source_key>2</source_key><sink_key>0</sink_key></connection>
<connection><source_block_id>custom_corr</source_block_id><sink_block_id>qtgui_time_sink_x_2_0_0_1</sink_block_id><source_key>2</source_key><sink_key>0</sink_key></connection>
<connection><source_block_id>custom_corr</source_block_id><sink_block_id>blocks_delay_0</sink_block_id><source_key>0</source_key><sink_key>0</sink_key></connection>
<connection><source_block_id>custom_corr</source_block_id><sink_block_id>blocks_delay_0_0_0</sink_block_id><source_key>0</source_key><sink_key>0</sink_key></connection>
<connection><source_block_id>custom_corr</source_block_id><sink_block_id>blocks_delay_0_0</sink_block_id><source_key>1</source_key><sink_key>0</sink_key></connection>
<connection><source_block_id>custom_corr</source_block_id><sink_block_id>blocks_delay_0_1</sink_block_id><source_key>1</source_key><sink_key>0</sink_key></connection>
<connection><source_block_id>digital_cma_equalizer_cc_0</source_block_id><sink_block_id>digital_costas_loop_cc_0_0</sink_block_id><source_key>0</source_key><sink_key>0</sink_key></connection>
<connection><source_block_id>digital_cma_equalizer_cc_0_0</source_block_id><sink_block_id>digital_costas_loop_cc_0_0</sink_block_id><source_key>0</source_key><sink_key>0</sink_key></connection>
<connection><source_block_id>digital_constellation_decoder_cb_0</source_block_id><sink_block_id>digital_diff_decoder_bb_0</sink_block_id><source_key>0</source_key><sink_key>0</sink_key></connection>
<connection><source_block_id>digital_correlate_access_code_xx_ts_0_0</source_block_id><sink_block_id>blocks_char_to_float_0_0</sink_block_id><source_key>0</source_key><sink_key>0</sink_key></connection>
<connection><source_block_id>digital_correlate_access_code_xx_ts_0_0</source_block_id><sink_block_id>blocks_repack_bits_bb_0_0</sink_block_id><source_key>0</source_key><sink_key>0</sink_key></connection>
<connection><source_block_id>digital_correlate_access_code_xx_ts_0_0</source_block_id><sink_block_id>virtual_sink_0_0</sink_block_id><source_key>0</source_key><sink_key>0</sink_key></connection>
<connection><source_block_id>digital_costas_loop_cc_0_0</source_block_id><sink_block_id>qtgui_const_sink_x_0_0_0</sink_block_id><source_key>0</source_key><sink_key>0</sink_key></connection>
<connection><source_block_id>digital_costas_loop_cc_0_0</source_block_id><sink_block_id>virtual_sink_0_1</sink_block_id><source_key>0</source_key><sink_key>0</sink_key></connection>
<connection><source_block_id>digital_diff_decoder_bb_0</source_block_id><sink_block_id>blocks_repack_bits_bb_0</sink_block_id><source_key>0</source_key><sink_key>0</sink_key></connection>
<connection><source_block_id>digital_lms_dd_equalizer_cc_0</source_block_id><sink_block_id>digital_costas_loop_cc_0_0</sink_block_id><source_key>0</source_key><sink_key>0</sink_key></connection>
<connection><source_block_id>digital_map_bb_0_0_0_0_0_0</source_block_id><sink_block_id>blocks_char_to_float_0_2_0_0_0</sink_block_id><source_key>0</source_key><sink_key>0</sink_key></connection>
<connection><source_block_id>digital_pfb_clock_sync_xxx_0</source_block_id><sink_block_id>digital_cma_equalizer_cc_0</sink_block_id><source_key>0</source_key><sink_key>0</sink_key></connection>
<connection><source_block_id>digital_pfb_clock_sync_xxx_0</source_block_id><sink_block_id>digital_cma_equalizer_cc_0_0</sink_block_id><source_key>0</source_key><sink_key>0</sink_key></connection>
<connection><source_block_id>digital_pfb_clock_sync_xxx_0</source_block_id><sink_block_id>digital_lms_dd_equalizer_cc_0</sink_block_id><source_key>0</source_key><sink_key>0</sink_key></connection>
<connection><source_block_id>fec_extended_decoder_0_0_1_0_1_0_0</source_block_id><sink_block_id>blocks_keep_m_in_n_0_1_1_0</sink_block_id><source_key>0</source_key><sink_key>0</sink_key></connection>
<connection><source_block_id>interp_fir_filter_xxx_1</source_block_id><sink_block_id>blocks_multiply_const_vxx_1_0</sink_block_id><source_key>0</source_key><sink_key>0</sink_key></connection>
<connection><source_block_id>scrambler_cpp_custom_descrambler_0</source_block_id><sink_block_id>blocks_repack_bits_bb_0_0_0_1_0</sink_block_id><source_key>0</source_key><sink_key>0</sink_key></connection>
<connection><source_block_id>scrambler_packets_same_seed_descramble_packetize_0</source_block_id><sink_block_id>blocks_repack_bits_bb_0_0_0_1_0</sink_block_id><source_key>0</source_key><sink_key>0</sink_key></connection>
<connection><source_block_id>uhd_usrp_source_0_0</source_block_id><sink_block_id>custom_corr</sink_block_id><source_key>0</source_key><sink_key>1</sink_key></connection>
<connection><source_block_id>uhd_usrp_source_0_0</source_block_id><sink_block_id>qtgui_const_sink_x_0_0_0_1</sink_block_id><source_key>0</source_key><sink_key>0</sink_key></connection>
<connection><source_block_id>uhd_usrp_source_0_0</source_block_id><sink_block_id>qtgui_time_sink_x_1_0</sink_block_id><source_key>0</source_key><sink_key>0</sink_key></connection>
<connection><source_block_id>uhd_usrp_source_0_0</source_block_id><sink_block_id>qtgui_time_sink_x_1_1</sink_block_id><source_key>0</source_key><sink_key>0</sink_key></connection>
<connection><source_block_id>virtual_source_0</source_block_id><sink_block_id>digital_constellation_decoder_cb_0</sink_block_id><source_key>0</source_key><sink_key>0</sink_key></connection>
<connection><source_block_id>virtual_source_0_0_0_0</source_block_id><sink_block_id>blocks_keep_m_in_n_0_0_2_0_0</sink_block_id><source_key>0</source_key><sink_key>0</sink_key></connection>
</flow_graph>
